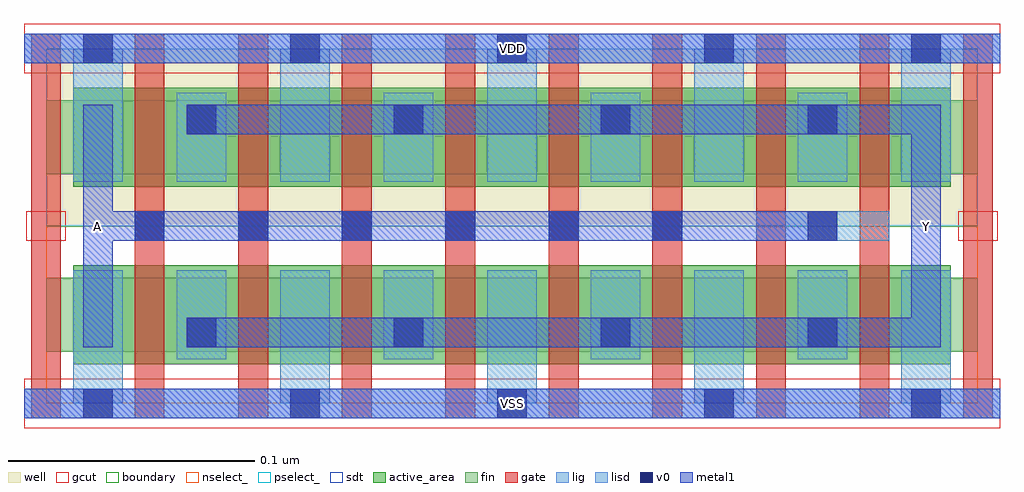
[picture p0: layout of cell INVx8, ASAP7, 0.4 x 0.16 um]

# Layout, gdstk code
import gdstk
lib = gdstk.Library(unit=1e-6, precision=2.5e-10)
def R(c, l, rs):  # rectangles x0, y0, x1, y1
    for r in rs: c.add(gdstk.rectangle(r[:2], r[2:], *l))
def A(c, l, x, y, w, h, nx, ny, dx, dy):  # array of equal rectangles
    R(c, l, [(x+i*dx, y+j*dy, x+i*dx+w, y+j*dy+h) for i in range(nx) for j in range(ny)])
def P(c, l, *ps):  # polygons
    for p in ps: c.add(gdstk.Polygon(p, *l))
well = (1, 0)
fin = (2, 0)
gate = (7, 0)
gcut = (10, 0)
active_area = (11, 0)
nselect_ = (12, 0)
pselect_ = (13, 0)
lig = (16, 0)
lisd = (17, 0)
v0 = (18, 0)
metal1 = (19, 0)
sdt = (88, 0)
boundary = (100, 0)

invx8 = lib.new_cell('INVx8')
R(invx8, well, [(0,0.072,0.378,0.144)])
R(invx8, fin, [(0,0.021,0.378,0.051), (0,0.093,0.378,0.123)])
A(invx8, gate, -0.006, -0.006, 0.012, 0.156, 10, 1, 0.042, 0)
R(invx8, gcut, [(-0.009,-0.01,0.387,0.01), (-0.008,0.066,0.008,0.078), (0.37,0.066,0.386,0.078), (-0.009,0.134,0.387,0.154)])
R(invx8, active_area, [(0.011,0.016,0.367,0.056), (0.011,0.088,0.367,0.128)])
R(invx8, nselect_, [(0,0,0.378,0.072)])
R(invx8, pselect_, [(0,0.072,0.378,0.144)])
A(invx8, lig, 0.036, 0.066, 0.012, 0.012, 6, 1, 0.042, 0)
R(invx8, lig, [(-0.009,-0.006,0.387,0.006), (0.288,0.066,0.342,0.078), (-0.009,0.138,0.387,0.15)])
A(invx8, lisd, 0.011, 0, 0.02, 0.054, 5, 2, 0.084, 0.09)
A(invx8, lisd, 0.053, 0.018, 0.02, 0.036, 4, 2, 0.084, 0.072)
A(invx8, v0, 0.015, -0.006, 0.012, 0.012, 5, 2, 0.084, 0.144)
A(invx8, v0, 0.057, 0.0227, 0.012, 0.012, 4, 2, 0.084, 0.0865)
A(invx8, v0, 0.036, 0.066, 0.012, 0.012, 6, 1, 0.042, 0)
R(invx8, v0, [(0.309,0.066,0.321,0.078)])
R(invx8, metal1, [(-0.009,-0.006,0.387,0.006), (-0.009,0.138,0.387,0.15)])
P(invx8, metal1, [(0.015,0.0227),(0.027,0.0227),(0.027,0.066),(0.321,0.066),(0.321,0.078),(0.027,0.078),(0.027,0.1212),(0.015,0.1212)],
  [(0.057,0.1092),(0.351,0.1092),(0.351,0.0348),(0.057,0.0348),(0.057,0.0227),(0.363,0.0227),(0.363,0.1212),(0.057,0.1212)])
A(invx8, sdt, 0.011, 0.021, 0.02, 0.03, 9, 2, 0.042, 0.072)
R(invx8, boundary, [(0,0,0.378,0.144)])
invx8.add(gdstk.Label('Y', (0.357,0.072), layer=19, texttype=251))
invx8.add(gdstk.Label('A', (0.021,0.072), layer=19, texttype=251))
invx8.add(gdstk.Label('VSS', (0.189,0), layer=19, texttype=251))
invx8.add(gdstk.Label('VDD', (0.189,0.144), layer=19, texttype=251))

lib.write_gds('INVx8.gds')
